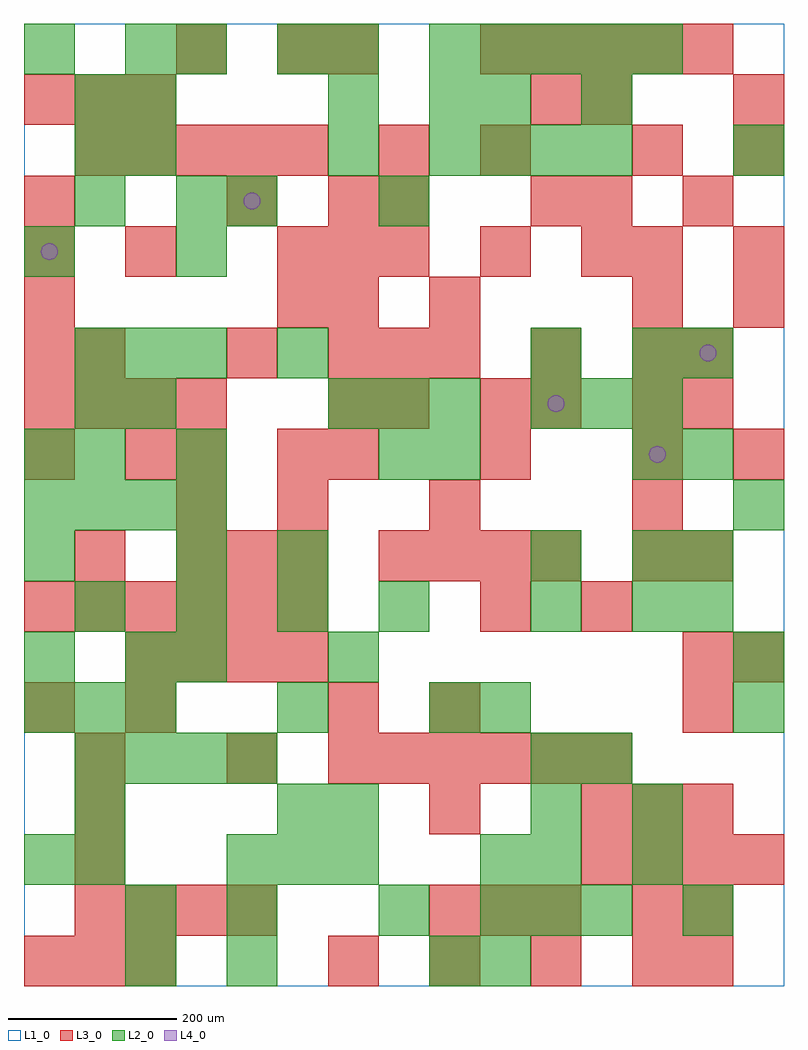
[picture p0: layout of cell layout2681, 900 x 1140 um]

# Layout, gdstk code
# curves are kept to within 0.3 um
import gdstk
lib = gdstk.Library(unit=1e-6, precision=1e-09)
def R(c, l, rs):  # rectangles x0, y0, x1, y1
    for r in rs: c.add(gdstk.rectangle(r[:2], r[2:], *l))
def A(c, l, x, y, w, h, nx, ny, dx, dy):  # array of equal rectangles
    R(c, l, [(x+i*dx, y+j*dy, x+i*dx+w, y+j*dy+h) for i in range(nx) for j in range(ny)])
def P(c, l, *ps):  # polygons
    for p in ps: c.add(gdstk.Polygon(p, *l))
L1_0 = (1, 0)
L2_0 = (2, 0)
L3_0 = (3, 0)
L4_0 = (4, 0)

layout2681 = lib.new_cell('layout2681')
R(layout2681, L1_0, [(0,0,900,1140)])
A(layout2681, L2_0, 480, 0, 60, 60, 1, 3, 0, 300)
A(layout2681, L2_0, 120, 60, 60, 60, 1, 4, 0, 300)
A(layout2681, L2_0, 540, 60, 60, 60, 3, 1, 60, 0)
A(layout2681, L2_0, 240, 120, 60, 60, 3, 1, 60, 0)
A(layout2681, L2_0, 600, 120, 60, 60, 1, 3, 0, 60)
A(layout2681, L2_0, 60, 240, 60, 60, 4, 1, 60, 0)
A(layout2681, L2_0, 0, 300, 60, 60, 3, 1, 60, 0)
A(layout2681, L2_0, 0, 360, 60, 60, 1, 3, 0, 120)
A(layout2681, L2_0, 180, 360, 60, 60, 1, 3, 0, 120)
A(layout2681, L2_0, 60, 420, 60, 60, 4, 1, 120, 0)
A(layout2681, L2_0, 720, 480, 60, 60, 1, 3, 0, 120)
A(layout2681, L2_0, 780, 480, 60, 60, 1, 3, 0, 120)
A(layout2681, L2_0, 0, 540, 60, 60, 4, 1, 60, 0)
A(layout2681, L2_0, 360, 660, 60, 60, 3, 1, 60, 0)
A(layout2681, L2_0, 600, 660, 60, 60, 3, 1, 60, 0)
A(layout2681, L2_0, 60, 720, 60, 60, 3, 1, 60, 0)
A(layout2681, L2_0, 60, 900, 60, 60, 1, 3, 0, 60)
A(layout2681, L2_0, 360, 960, 60, 60, 1, 3, 0, 60)
A(layout2681, L2_0, 480, 960, 60, 60, 4, 1, 60, 0)
A(layout2681, L2_0, 480, 1080, 60, 60, 5, 1, 60, 0)
R(layout2681, L2_0, [(120,0,180,60), (240,0,300,60), (540,0,600,60), (240,60,300,120), (420,60,480,120), (780,60,840,120), (0,120,60,180), (60,120,120,180), (540,120,600,180), (720,120,780,180), (60,180,120,240), (300,180,360,240), (360,180,420,240), (720,180,780,240), (660,240,720,300), (300,300,360,360), (540,300,600,360), (840,300,900,360), (360,360,420,420), (840,360,900,420), (600,420,660,480), (720,420,780,480), (780,420,840,480), (300,480,360,540), (600,480,660,540), (840,540,900,600), (60,600,120,660), (420,600,480,660), (60,660,120,720), (300,720,360,780), (600,720,660,780), (0,840,60,900), (180,840,240,900), (180,900,240,960), (240,900,300,960), (420,900,480,960), (840,960,900,1020), (120,1020,180,1080), (480,1020,540,1080), (540,1020,600,1080), (660,1020,720,1080), (0,1080,60,1140), (120,1080,180,1140), (180,1080,240,1140), (300,1080,360,1140)])
A(layout2681, L3_0, 0, 0, 60, 60, 3, 2, 60, 1020)
A(layout2681, L3_0, 360, 0, 60, 60, 4, 1, 120, 0)
A(layout2681, L3_0, 60, 60, 60, 60, 4, 1, 60, 0)
A(layout2681, L3_0, 480, 60, 60, 60, 3, 1, 60, 0)
A(layout2681, L3_0, 60, 120, 60, 60, 1, 3, 0, 60)
A(layout2681, L3_0, 660, 120, 60, 60, 4, 1, 60, 0)
A(layout2681, L3_0, 660, 180, 60, 60, 3, 1, 60, 0)
A(layout2681, L3_0, 360, 240, 60, 60, 6, 1, 60, 0)
A(layout2681, L3_0, 480, 300, 60, 60, 1, 3, 0, 240)
A(layout2681, L3_0, 120, 360, 60, 60, 4, 1, 60, 0)
A(layout2681, L3_0, 0, 420, 60, 60, 6, 1, 60, 0)
A(layout2681, L3_0, 180, 480, 60, 60, 3, 1, 60, 0)
A(layout2681, L3_0, 420, 480, 60, 60, 4, 1, 60, 0)
A(layout2681, L3_0, 360, 600, 60, 60, 3, 1, 180, 0)
A(layout2681, L3_0, 0, 660, 60, 60, 4, 1, 60, 0)
A(layout2681, L3_0, 360, 660, 60, 60, 1, 3, 0, 120)
A(layout2681, L3_0, 720, 660, 60, 60, 1, 4, 0, 60)
A(layout2681, L3_0, 0, 720, 60, 60, 1, 4, 0, 60)
A(layout2681, L3_0, 360, 720, 60, 60, 3, 1, 60, 0)
A(layout2681, L3_0, 300, 840, 60, 60, 3, 1, 60, 0)
A(layout2681, L3_0, 60, 960, 60, 60, 5, 1, 60, 0)
A(layout2681, L3_0, 540, 1080, 60, 60, 5, 1, 60, 0)
R(layout2681, L3_0, [(780,0,840,60), (720,60,780,120), (780,60,840,120), (480,180,540,240), (240,240,300,300), (0,300,60,360), (120,300,180,360), (360,300,420,360), (780,300,840,360), (780,360,840,420), (840,360,900,420), (540,420,600,480), (660,420,720,480), (60,480,120,540), (720,480,780,540), (780,480,840,540), (180,540,240,600), (300,540,360,600), (720,540,780,600), (0,600,60,660), (120,600,180,660), (180,600,240,660), (300,600,360,660), (840,600,900,660), (420,660,480,720), (540,660,600,720), (600,660,660,720), (780,660,840,720), (60,720,120,780), (240,720,300,780), (600,720,660,780), (780,720,840,780), (300,780,360,840), (840,780,900,840), (120,840,180,900), (540,840,600,900), (660,840,720,900), (840,840,900,900), (240,900,300,960), (420,900,480,960), (600,900,660,960), (660,900,720,960), (780,900,840,960), (420,960,480,1020), (540,960,600,1020), (720,960,780,1020), (840,960,900,1020), (600,1020,660,1080), (660,1020,720,1080), (840,1020,900,1080), (180,1080,240,1140), (300,1080,360,1140), (360,1080,420,1140)])
P(layout2681, L4_0, [(40,870),(39.239,873.827),(37.071,877.071),(33.827,879.239),(30,880),(26.173,879.239),(22.929,877.071),(20.761,873.827),(20,870),(20.761,866.173),(22.929,862.929),(26.173,860.761),(30,860),(33.827,860.761),(37.071,862.929),(39.239,866.173)],
  [(280,930),(279.239,933.827),(277.071,937.071),(273.827,939.239),(270,940),(266.173,939.239),(262.929,937.071),(260.761,933.827),(260,930),(260.761,926.173),(262.929,922.929),(266.173,920.761),(270,920),(273.827,920.761),(277.071,922.929),(279.239,926.173)],
  [(640,690),(639.239,693.827),(637.071,697.071),(633.827,699.239),(630,700),(626.173,699.239),(622.929,697.071),(620.761,693.827),(620,690),(620.761,686.173),(622.929,682.929),(626.173,680.761),(630,680),(633.827,680.761),(637.071,682.929),(639.239,686.173)],
  [(760,630),(759.239,633.827),(757.071,637.071),(753.827,639.239),(750,640),(746.173,639.239),(742.929,637.071),(740.761,633.827),(740,630),(740.761,626.173),(742.929,622.929),(746.173,620.761),(750,620),(753.827,620.761),(757.071,622.929),(759.239,626.173)],
  [(820,750),(819.239,753.827),(817.071,757.071),(813.827,759.239),(810,760),(806.173,759.239),(802.929,757.071),(800.761,753.827),(800,750),(800.761,746.173),(802.929,742.929),(806.173,740.761),(810,740),(813.827,740.761),(817.071,742.929),(819.239,746.173)])

lib.write_gds('layout2681.gds')
